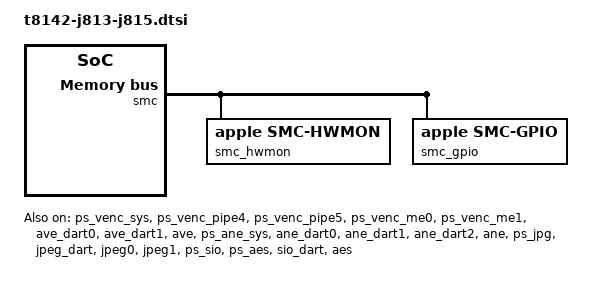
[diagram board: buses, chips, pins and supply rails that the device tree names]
// SPDX-License-Identifier: GPL-2.0+ OR MIT
/*
 * Shared by the 13- and 15-inch M5 MacBook Air (J813, J815).
 *
 * The J813 and J815 ADTs (25G83) describe the same CPU performance states,
 * cluster controllers, PMC, SMC, MTP, ANS, watchdog and PMU. Each board
 * supplies the CPUs, AIC, PMGR and MTP DART these nodes use, and names its
 * trackpad firmware (the multi-touch hid-merge-personality differs).
 */
#include <dt-bindings/gpio/gpio.h>

/ {
	aliases {
		mtp = &mtp;
		keyboard = &keyboard;
	};

	/* State 1 is 300 MHz; firmware SRAM OPP tables begin at state 2. */
	/* Cap each cluster at its measured J813 firmware handoff state. */
	/*
	 * opp-microwatt (per core, for the energy model) was measured on J815
	 * with the main-PMU rail meters through the SMC: each cluster pinned to
	 * each OPP with all its cores busy, the cluster rail (P: PP0b at VP0b,
	 * E: PPbb at VPbb) read at the end of the load and split per core. The
	 * readings follow C * V^2 * f closely (P: C 950-1150, E: 226-263 mW per
	 * V^2 GHz, 900 MHz up to the highest unthrottled OPP), so the table is
	 * that fit (P 1061, E 237) at each OPP's measured rail voltage. Above
	 * 4020 MHz the P cluster sat at its power limit (die ~102 C), so those
	 * rows rely on the fit, not on a direct reading. The values carry the
	 * cluster's shared leakage, like the T8132 table; P at 4464 MHz (5.07 W)
	 * matches T8132's 5.01 W.
	 */
	ecluster_opp: opp-table-0 {
		compatible = "operating-points-v2";
		opp-shared;

		opp-300000000 {
			opp-hz = /bits/ 64 <300000000>;
			opp-level = <1>;
			opp-microwatt = <31000>;
		};

		opp-972000000 {
			opp-hz = /bits/ 64 <972000000>;
			opp-level = <2>;
			opp-microwatt = <88000>;
		};

		opp-1152000000 {
			opp-hz = /bits/ 64 <1152000000>;
			opp-level = <3>;
			opp-microwatt = <109000>;
		};

		opp-1584000000 {
			opp-hz = /bits/ 64 <1584000000>;
			opp-level = <4>;
			opp-microwatt = <178000>;
		};

		opp-1992000000 {
			opp-hz = /bits/ 64 <1992000000>;
			opp-level = <5>;
			opp-microwatt = <252000>;
		};

		opp-2352000000 {
			opp-hz = /bits/ 64 <2352000000>;
			opp-level = <6>;
			opp-microwatt = <330000>;
		};

		opp-2700000000 {
			opp-hz = /bits/ 64 <2700000000>;
			opp-level = <7>;
			opp-microwatt = <463000>;
		};

		opp-2964000000 {
			opp-hz = /bits/ 64 <2964000000>;
			opp-level = <8>;
			opp-microwatt = <630000>;
		};
	};

	pcluster_opp: opp-table-1 {
		compatible = "operating-points-v2";
		opp-shared;

		opp-300000000 {
			opp-hz = /bits/ 64 <300000000>;
			opp-level = <1>;
			opp-microwatt = <109000>;
		};

		opp-1308000000 {
			opp-hz = /bits/ 64 <1308000000>;
			opp-level = <2>;
			opp-microwatt = <467000>;
		};

		opp-1608000000 {
			opp-hz = /bits/ 64 <1608000000>;
			opp-level = <3>;
			opp-microwatt = <643000>;
		};

		opp-1932000000 {
			opp-hz = /bits/ 64 <1932000000>;
			opp-level = <4>;
			opp-microwatt = <869000>;
		};

		opp-2220000000 {
			opp-hz = /bits/ 64 <2220000000>;
			opp-level = <5>;
			opp-microwatt = <1076000>;
		};

		opp-2508000000 {
			opp-hz = /bits/ 64 <2508000000>;
			opp-level = <6>;
			opp-microwatt = <1293000>;
		};

		opp-2820000000 {
			opp-hz = /bits/ 64 <2820000000>;
			opp-level = <7>;
			opp-microwatt = <1577000>;
		};

		opp-3072000000 {
			opp-hz = /bits/ 64 <3072000000>;
			opp-level = <8>;
			opp-microwatt = <1927000>;
		};

		opp-3300000000 {
			opp-hz = /bits/ 64 <3300000000>;
			opp-level = <9>;
			opp-microwatt = <2180000>;
		};

		opp-3516000000 {
			opp-hz = /bits/ 64 <3516000000>;
			opp-level = <10>;
			opp-microwatt = <2651000>;
		};

		/* ADT levels 11-20, measured on J813 (level 19, 4416 MHz, is below
		 * level 18 and left out). The SoC throttles them when hot. */
		opp-3720000000 {
			opp-hz = /bits/ 64 <3720000000>;
			opp-level = <11>;
			opp-microwatt = <3001000>;
		};

		opp-3876000000 {
			opp-hz = /bits/ 64 <3876000000>;
			opp-level = <12>;
			opp-microwatt = <3451000>;
		};

		opp-4020000000 {
			opp-hz = /bits/ 64 <4020000000>;
			opp-level = <13>;
			opp-microwatt = <3841000>;
		};

		opp-4176000000 {
			opp-hz = /bits/ 64 <4176000000>;
			opp-level = <14>;
			opp-microwatt = <4520000>;
		};

		opp-4248000000 {
			opp-hz = /bits/ 64 <4248000000>;
			opp-level = <15>;
			opp-microwatt = <4828000>;
		};

		opp-4272000000 {
			opp-hz = /bits/ 64 <4272000000>;
			opp-level = <16>;
			opp-microwatt = <4855000>;
		};

		opp-4332000000 {
			opp-hz = /bits/ 64 <4332000000>;
			opp-level = <17>;
			opp-microwatt = <4924000>;
		};

		opp-4428000000 {
			opp-hz = /bits/ 64 <4428000000>;
			opp-level = <18>;
			opp-microwatt = <5033000>;
		};

		opp-4464000000 {
			opp-hz = /bits/ 64 <4464000000>;
			opp-level = <20>;
			opp-microwatt = <5074000>;
		};
	};
};

&{/soc} {
	cpufreq_e: performance-controller@210e20000 {
		compatible = "apple,t8142-cluster-cpufreq";
		reg = <0x2 0x10e20000 0 0x1000>;
		#performance-domain-cells = <0>;
		/* E lane follows the ADT ordering; no changing sample yet. */
		apple,fast-die-effort = <&pmp_report 0>;
	};

	cpufreq_p: performance-controller@211e20000 {
		compatible = "apple,t8142-cluster-cpufreq";
		reg = <0x2 0x11e20000 0 0x1000>;
		#performance-domain-cells = <0>;
		/* P lane has been observed under Linux CPU load. */
		apple,fast-die-effort = <&pmp_report 1>;
	};

	/*
	 * PMC voter interface (AppleT8142PMC, ADT pmc-pmgr 31 + 0x700000):
	 * floors at 0x382700000 + agent * 0x4000, per-agent states at
	 * +0x106000, rail enables at +0x108000. Agents (ADT voter-agent):
	 * PMP 0, CLPC 1, GFX 2, AP 3. iBoot leaves every enable at 0, so
	 * no vote is honoured and DRAM and fabric stay at their lowest
	 * states (CPU DRAM latency 171 ns instead of 70 ns).
	 */
	pmc: power-management@382700000 {
		compatible = "apple,t8142-pmc";
		reg = <0x3 0x82700000 0x0 0x10000>,
		      <0x3 0x82806000 0x0 0x3000>;
		reg-names = "voters", "rails";
		#address-cells = <1>;
		#size-cells = <0>;
		/* PMP, CLPC and AP agents */
		apple,static-voters = <0 1 3>;

		clpc: performance-controller@1 {
			compatible = "apple,t8142-clpc";
			reg = <1>;
		};
	};

	smc_mbox: mailbox@38c608000 {
		compatible = "apple,t8142-asc-mailbox", "apple,asc-mailbox-v4";
		reg = <3 0x8c608000 0 0x4000>;
		interrupts = <AIC_IRQ 633 IRQ_TYPE_LEVEL_HIGH>,
			     <AIC_IRQ 634 IRQ_TYPE_LEVEL_HIGH>,
			     <AIC_IRQ 635 IRQ_TYPE_LEVEL_HIGH>,
			     <AIC_IRQ 636 IRQ_TYPE_LEVEL_HIGH>;
		interrupt-names = "send-empty", "send-not-empty", "recv-empty", "recv-not-empty";
		#mbox-cells = <0>;
	};

	smc: smc@38c600000 {
		compatible = "apple,t8142-smc", "apple,t8103-smc";
		reg = <3 0x8c600000 0 0x4000>, <3 0x8de00000 0 0x120000>;
		reg-names = "smc", "sram";
		mboxes = <&smc_mbox>;

		smc_hwmon: hwmon {
			compatible = "apple,smc-hwmon";
		};

		smc_gpio: gpio {
			compatible = "apple,smc-gpio";
			gpio-controller;
			#gpio-cells = <2>;
		};
	};

	mtp: mtp@394600000 {
		compatible = "apple,t8142-mtp", "apple,t8142-rtk-helper-asc4",
			     "apple,mtp", "apple,rtk-helper-asc4";
		/* The second region is firmware SRAM, not the ASC control window. */
		reg = <3 0x94600000 0 0x4000>, <3 0x94c00000 0 0x100000>;
		reg-names = "asc", "sram";
		mboxes = <&mtp_mbox>;
		iommus = <&mtp_dart 0>;
	};

	mtp_mbox: mailbox@394608000 {
		compatible = "apple,t8142-asc-mailbox", "apple,asc-mailbox-v4";
		reg = <3 0x94608000 0 0x4000>;
		interrupts = <AIC_IRQ 1299 IRQ_TYPE_LEVEL_HIGH>,
			     <AIC_IRQ 1300 IRQ_TYPE_LEVEL_HIGH>,
			     <AIC_IRQ 1301 IRQ_TYPE_LEVEL_HIGH>,
			     <AIC_IRQ 1302 IRQ_TYPE_LEVEL_HIGH>;
		interrupt-names = "send-empty", "send-not-empty", "recv-empty", "recv-not-empty";
		#mbox-cells = <0>;
	};

	mtp_dockchannel: fifo@394b14000 {
		compatible = "apple,t8142-dockchannel", "apple,dockchannel";
		reg = <3 0x94b14000 0 0x1000>;
		reg-names = "irq";
		interrupts = <AIC_IRQ 1277 IRQ_TYPE_LEVEL_HIGH>;
		ranges = <0 3 0x94b28000 0x20000>;
		nonposted-mmio;
		#address-cells = <1>;
		#size-cells = <1>;
		interrupt-controller;
		#interrupt-cells = <2>;

		mtp_hid: input@8000 {
			compatible = "apple,dockchannel-hid";
			reg = <0x8000 0x1000>, <0xc000 0x1000>,
			      <0x0000 0x1000>, <0x4000 0x1000>;
			reg-names = "config", "data", "rmt-config", "rmt-data";
			iommus = <&mtp_dart 0>;
			interrupt-parent = <&mtp_dockchannel>;
			interrupts = <2 IRQ_TYPE_LEVEL_HIGH>, <3 IRQ_TYPE_LEVEL_HIGH>;
			interrupt-names = "tx", "rx";
			apple,fifo-size = <0x800>;
			apple,helper-cpu = <&mtp>;
			/*
			 * ADT dockchannel-mtp/mtp-transport/multi-touch:
			 * function-afe-reset = smc-pmu pKW4('gP1c'), SMC GPIO 28.
			 * The MTP firmware cannot reach the AFE on its own ("No
			 * HINT_L"): after macOS left it running the trackpad
			 * worked, after a Linux warm reboot it stayed in reset.
			 */
			apple,afe-reset-gpios = <&smc_gpio 28 GPIO_ACTIVE_LOW>;

			stm { };

			/* Each board names its own trackpad firmware. */
			multi-touch {
				apple,power-method = <2>;
			};

			/* Layout is filled by the loader using this machine's own data. */
			keyboard: keyboard { };

			/*
			 * The trackpad's haptic engine. The MTP firmware offers it
			 * as interface 4 "actuator"; without this node the click
			 * stays firmware-driven and there is no Force Touch stage.
			 */
			actuator { };
		};
	};
};

#include "t8142-j813-psci-idle.dtsi"
#include "t8142-j813-nvme.dtsi"
#include "t8142-j813-power.dtsi"

/*
 * CPU topology: DT cpu0-5 are the E cores (cluster 0), cpu6-9 (MPIDR
 * 0x10100-0x10103) the P cores (cluster 1). The scheduler then knows the
 * two clusters are asymmetric (SD_ASYM_CPUCAPACITY) and places heavy tasks
 * on the P cores. Linux boots on a P core, so logical cpu0 and 7-9 are P.
 * capacity-dmips-mhz (per MHz, scaled by each cluster's top OPP): E 671 /
 * P 1024, measured on J815 (boot 0f4c4bbd, pinned integer loop at the top
 * OPP of each cluster, best of 3: E 0.1045 / P 0.1597 per MHz). The T8132
 * (M4) ratio this replaces, 754, overstated the E cores by 12%; E capacity
 * at 2964 MHz is now ~445 of 1024 (4464 MHz P).
 */
&{/cpus} {
	cpu-map {
		cluster0 {
			core0 { cpu = <&cpu0>; };
			core1 { cpu = <&cpu1>; };
			core2 { cpu = <&cpu2>; };
			core3 { cpu = <&cpu3>; };
			core4 { cpu = <&cpu4>; };
			core5 { cpu = <&cpu5>; };
		};

		cluster1 {
			core0 { cpu = <&cpu6>; };
			core1 { cpu = <&cpu7>; };
			core2 { cpu = <&cpu8>; };
			core3 { cpu = <&cpu9>; };
		};
	};
};

&cpu0 { capacity-dmips-mhz = <671>; };
&cpu1 { capacity-dmips-mhz = <671>; };
&cpu2 { capacity-dmips-mhz = <671>; };
&cpu3 { capacity-dmips-mhz = <671>; };
&cpu4 { capacity-dmips-mhz = <671>; };
&cpu5 { capacity-dmips-mhz = <671>; };
&cpu6 { capacity-dmips-mhz = <1024>; };
&cpu7 { capacity-dmips-mhz = <1024>; };
&cpu8 { capacity-dmips-mhz = <1024>; };
&cpu9 { capacity-dmips-mhz = <1024>; };

&{/soc} {
	/*
	 * The CPU clusters' power-gate enables, in /arm-io/pmgr reg[34]: E at
	 * +0x0 and P at +0x60, the offsets T8132 has and the two words
	 * AppleT8142PMGR's restoreHW sets. iBoot leaves P's clear, and the
	 * boot core (P core 0) then never powers down in WFI. The PMGR is the
	 * SoC's, so J815 has the same words.
	 */
	cluster_pwrgate: power-gate@380724000 {
		compatible = "apple,t8142-cluster-pwrgate", "apple,cluster-pwrgate";
		reg = <0x3 0x80724000 0x0 0x4>,
		      <0x3 0x80724060 0x0 0x4>;
	};

	/*
	 * The internal display's power words for a DCP firmware stop (DPMS off):
	 * /arm-io/pmgr reg[34] (pwrgate: DISP_CPU's retention words 0x11cc and
	 * 0x11f0, the pmgr's retention_config_ff/_mem) and reg[32] (ps: DISP_CPU
	 * 0x10000, DISP_FE 0x318, DISP_SYS 0x290). T8142's PMC keeps no count of
	 * powered DCPs, so there is no pmc-dcp word.
	 */
	dcp_power: display-power@380724000 {
		compatible = "apple,t8142-display-power";
		reg = <3 0x80724000 0 0x2000>,
		      <3 0x80700000 0 0x14000>;
		reg-names = "pwrgate", "ps";
	};
};

&dcp {
	apple,display-power = <&dcp_power>;
};

&dcp_dart {
	/* PMGR PS write-disable for DISP_CPU: offset 0x3fdc, bit 6. */
	reg = <2 0x86340000 0 0x20000>,
	      <3 0x80717fdc 0 0x4>;
	reg-names = "dart", "ps-wr-dis";
	apple,ps-wr-dis-bit = <6>;
};

/*
 * The video encoder, its two DARTs and the VENC power tree: ADT ave behind
 * dart-ave (DART + CPUDART), the same addresses, interrupts and power states
 * on both boards. The boot loader hands over iBoot's preloaded firmware
 * (memory regions, CRCs in /chosen) or disables the encoder when the ADT has
 * no preload.
 */
&ps_venc_sys {
	status = "okay";
};

&ps_venc_dma {
	status = "okay";
};

&ps_venc_pipe4 {
	status = "okay";
};

&ps_venc_pipe5 {
	status = "okay";
};

&ps_venc_me0 {
	status = "okay";
};

&ps_venc_me1 {
	status = "okay";
};

&ave_dart0 {
	status = "okay";
};

&ave_dart1 {
	status = "okay";
};

&ave {
	status = "okay";
};

/*
 * The Neural Engine (ADT ane and dart-ane, the same on both boards). It stays
 * off until the first request: the firmware is started then, from the preload,
 * and system sleep cycles it cold. The boot loader hands the preload over by
 * the engine's compatible, or disables the node when there is none.
 */
&ps_ane_sys {
	status = "okay";
};

&ane_dart0 {
	status = "okay";
};

&ane_dart1 {
	status = "okay";
};

&ane_dart2 {
	status = "okay";
};

&ane {
	status = "okay";
};

/* Both JPEG engines and their DART (ADT jpeg0, jpeg1, dart-jpeg). */
&ps_jpg {
	status = "okay";
};

&jpeg_dart {
	status = "okay";
};

&jpeg0 {
	status = "okay";
};

&jpeg1 {
	status = "okay";
};

/*
 * SIO AES engine, software keys only. It registers below the CPU's aes-ce, so
 * it is used only when asked for by driver name.
 */
&ps_sio {
	status = "okay";
};

&ps_aes {
	status = "okay";
};

&sio_dart {
	status = "okay";
};

&aes {
	status = "okay";
};
